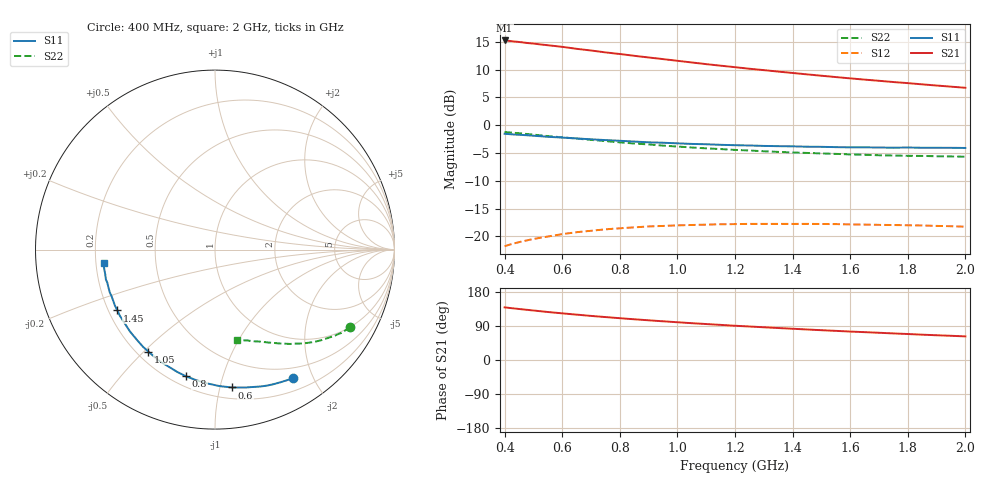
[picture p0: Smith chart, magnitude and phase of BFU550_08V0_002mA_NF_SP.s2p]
! Filename:  P:\Prog\Test\Noise\ATS_data\Testdata_Net\06 Compressed Noise after Statistics\BFU550_APG2013_43_D05_08p0V_002mA_NF_CM01_D.sf
! Date/Time: Fri 26/Apr/2013 13:07:22
! BFU550_APG2013_43_D05_08p0V_1to35mA_NF_CM01_Bias2_R.sf
! Noise Parameter Data File
! BFU550_APG2013_43_D05_08p0V_1to35mA_NF_CM01
! Date/time: Thu Apr 25 17:34:01 2013
! VAR V_out= 8.001000
! VAR I_out= 2.005000
! VAR V_in= 0.790900
! VAR I_in= 0.020705
! Device data file deembeded for feedlines and parallel
! Original file: \06 Compressed Noise after Statistics\BFU550_APG2013_43_D05_08p0V_002mA_NF_CM01_R.sf
! Feed-files: PR047V01_250413_Feed1.s2p, PR047V01_250413_Feed2.s2p
! Parallel-file: PR047V01_250413_Par.s2p
# MHz S MA R 50
!  Freq-MHz  S11-mag  S11-arg  S21-mag  S21-arg  S12-mag  S12-arg  S22-mag  S22-arg
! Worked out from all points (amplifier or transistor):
!   37 points, 400 MHz to 2 GHz, reference 50 ohm
!   highest |S21| = 15.2 dB at 400 MHz (marker M1)
!   |S21| within 3 dB of that: start of sweep to 890 MHz
!   unconditionally stable (mu >= 1): nowhere
!   at 500 MHz: K = 0.17, MSG = 17.6 dB, |S12| = -20.5 dB
!   at 1.1 GHz: K = 0.37, MSG = 14.4 dB, |S12| = -17.9 dB
!   at 2 GHz: K = 0.71, MSG = 12.5 dB, |S12| = -18.3 dB
!   lowest NFmin = 0.52 dB at 420 MHz
!   S11 on the Smith chart (normalised r, x): 400 MHz: 0.36, -1.71; 600 MHz: 0.28, -1.09; 800 MHz: 0.26, -0.77; 1.05 GHz: 0.24, -0.52; 1.45 GHz: 0.24, -0.27; 2 GHz: 0.23, -0.06
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400  0.837 -58.9  5.783 138.8  0.08171 56.0  0.8693 -29.9
440  0.8234 -64.1  5.643 135.4  0.08741 53.3  0.8513 -32.2
480  0.8116 -69.0  5.481 132.2  0.09245 50.7  0.8321 -34.5
500  0.8045 -71.4  5.419 130.7  0.09482 49.5  0.8231 -35.5
550  0.7869 -77.5  5.237 126.7  0.0998 46.5  0.7984 -38.1
600  0.774 -83.0  5.069 123.1  0.1048 43.9  0.7778 -40.5
650  0.7606 -88.2  4.864 119.7  0.1092 41.3  0.7581 -42.6
700  0.7468 -93.3  4.698 116.4  0.1123 38.9  0.7376 -44.7
750  0.7351 -98.1  4.517 113.3  0.1158 36.8  0.7199 -46.5
800  0.7243 -102.8  4.368 110.3  0.1183 34.8  0.7012 -48.3
850  0.7131 -107.2  4.209 107.5  0.1206 32.9  0.6849 -49.9
900  0.7016 -111.5  4.066 104.7  0.123 31.1  0.6716 -51.5
950  0.6956 -115.5  3.93 102.2  0.1242 29.4  0.6552 -53.2
1050  0.6789 -123.1  3.666 97.1  0.1267 26.3  0.6302 -56.0
1200  0.6608 -133.4  3.325 90.4  0.129 22.4  0.5997 -59.8
1300  0.6513 -139.5  3.129 86.3  0.1296 20.3  0.583 -62.1
1450  0.6407 -148.1  2.866 80.5  0.1296 17.6  0.5631 -65.3
1500  0.6392 -150.7  2.786 78.6  0.1293 16.7  0.5577 -66.5
1600  0.6322 -155.9  2.638 75.1  0.1282 15.3  0.5463 -68.6
1750  0.6276 -162.8  2.445 70.1  0.1266 13.6  0.5339 -71.5
1850  0.6268 -167.2  2.331 66.8  0.1255 12.7  0.5294 -73.4
2000  0.6245 -173.3  2.17 62.3  0.1223 11.9  0.5206 -76.4
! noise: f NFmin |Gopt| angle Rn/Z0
400  0.528  0.4779  31.95  0.1912
460  0.5209  0.4672  38.47  0.1755
600  0.5656  0.455  45.82  0.1751
800  0.6537  0.4618  62.85  0.1646
1000  0.7049  0.4641  76.41  0.156
1200  0.7665  0.467  89.44  0.149
1400  0.8282  0.4463  105.9  0.1235
1600  0.8467  0.4691  117.6  0.1034
1800  0.5928  0.4845  134.9  0.0724
2000  1.012  0.5264  148.4  0.0653
